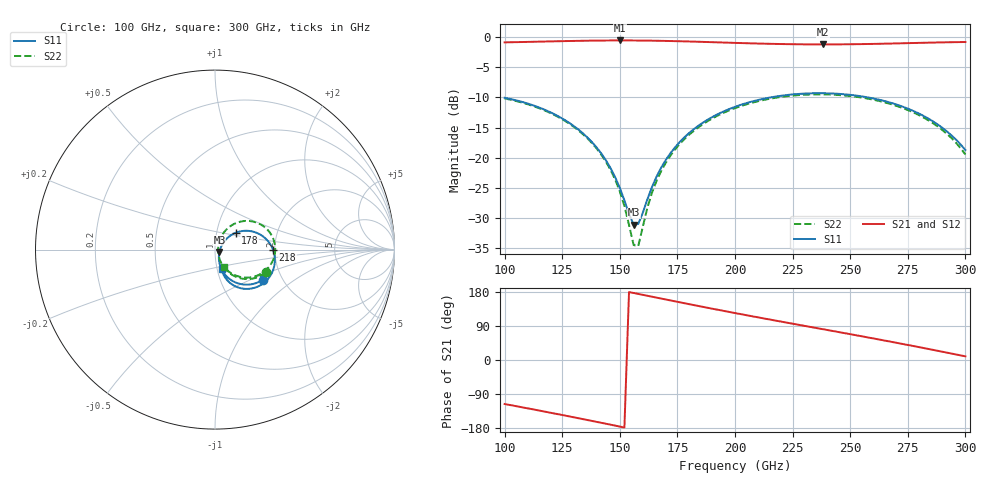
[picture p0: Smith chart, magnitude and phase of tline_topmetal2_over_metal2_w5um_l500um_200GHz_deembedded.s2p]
! Created with skrf 2.0.1 (http://scikit-rf.org).
# GHz S DB R 50.0
!freq dBS11 angS11 dBS21 angS21 dBS12 angS12 dBS22 angS22
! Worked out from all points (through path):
!   101 points, 100 GHz to 300 GHz, reference 50 ohm
!   highest |S21| = -0.55 dB at 150 GHz (marker M1); lowest = -1.2 dB at 238 GHz (marker M2)
!   group delay of S21, straight-line fit = 3.24 ps
!   lowest |S11| = -31.1 dB at 156 GHz (marker M3), VSWR 1.06, Z = 52.5 - j1.33 ohm
!   |S11| at or under -10 dB: start of sweep to 215.3 GHz; 257.9 GHz to end of sweep
!   |S22| runs from -34.6 to -9.5 dB; largest |S21 - S12| = 1.1e-14
!   S11 on the Smith chart (normalised r, x): 100 GHz: 1.59, -0.59; 178 GHz: 1.23, +0.24; 218 GHz: 1.95, +0.00; 300 GHz: 1.05, -0.23
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100  -10.05 -32.5  -0.86 -116.1  -0.86 -116.1  -10.16 -24.2
120  -12.48 -53.6  -0.70 -139.2  -0.70 -139.2  -12.60 -44.4
134  -15.94 -67.0  -0.60 -156.0  -0.60 -156.0  -16.08 -57.8
144  -20.42 -72.3  -0.55 -168.3  -0.55 -168.3  -20.66 -64.7
150  -24.99 -67.4  -0.55 -175.7  -0.55 -175.7  -25.56 -63.1
152  -27.06 -60.9  -0.55 -178.2  -0.55 -178.2  -28.01 -58.8
156  -31.08 -26.9  -0.55 176.9  -0.55 176.9  -34.45 -22.9
158  -30.97 0.2  -0.56 174.4  -0.56 174.4  -34.65 19.0
162  -26.85 32.4  -0.57 169.5  -0.57 169.5  -28.24 57.2
164  -24.81 38.5  -0.58 167.0  -0.58 167.0  -25.75 61.9
168  -21.60 42.8  -0.61 162.1  -0.61 162.1  -22.16 64.1
178  -16.61 39.3  -0.70 149.9  -0.70 149.9  -16.92 58.6
188  -13.71 30.6  -0.81 137.9  -0.81 137.9  -13.95 49.5
200  -11.55 18.6  -0.95 123.9  -0.95 123.9  -11.76 37.6
218  -9.82 0.1  -1.12 103.6  -1.12 103.6  -10.02 19.5
234  -9.30 -16.3  -1.20 85.9  -1.20 85.9  -9.49 3.4
238  -9.29 -20.4  -1.20 81.4  -1.20 81.4  -9.49 -0.6
254  -9.76 -36.5  -1.15 63.7  -1.15 63.7  -9.96 -16.8
268  -10.92 -50.3  -1.05 47.8  -1.05 47.8  -11.14 -31.2
286  -13.98 -66.2  -0.89 26.7  -0.89 26.7  -14.28 -49.9
294  -16.29 -70.9  -0.84 17.0  -0.84 17.0  -16.75 -57.8
300  -18.70 -71.6  -0.80 9.6  -0.80 9.6  -19.45 -62.8
